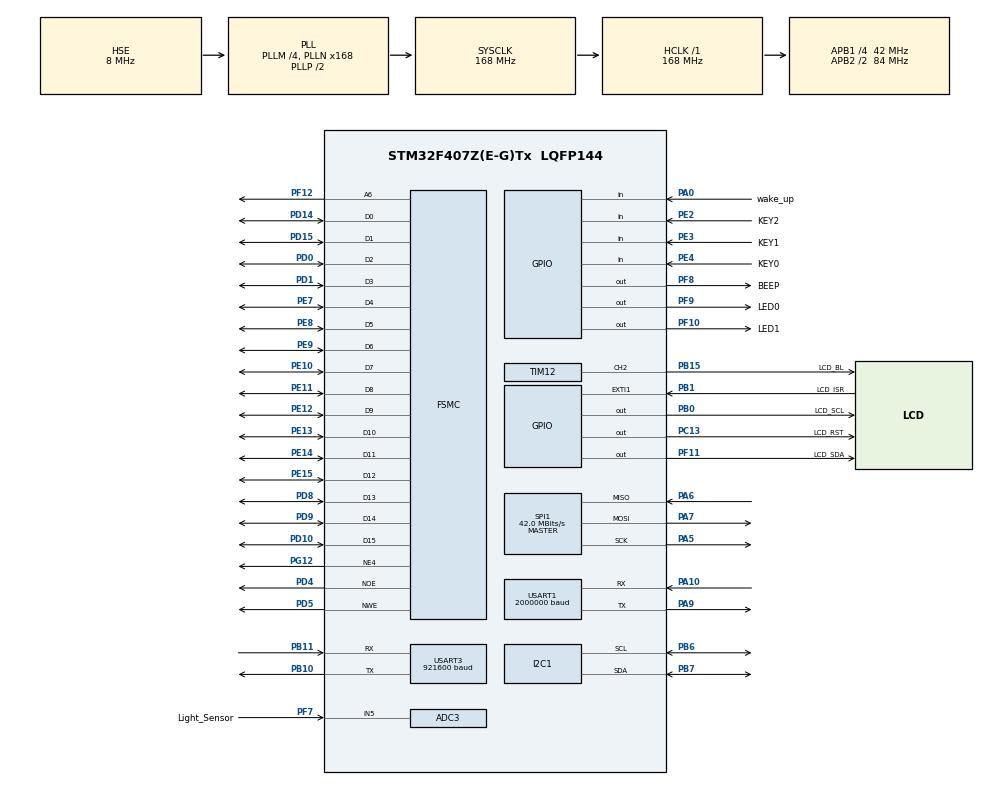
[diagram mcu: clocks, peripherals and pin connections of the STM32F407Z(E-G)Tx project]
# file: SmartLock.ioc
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ADC3.Channel-0\#ChannelRegularConversion=ADC_CHANNEL_5
ADC3.ClockPrescaler=ADC_CLOCK_SYNC_PCLK_DIV4
ADC3.ContinuousConvMode=ENABLE
ADC3.DMAContinuousRequests=DISABLE
ADC3.DiscontinuousConvMode=DISABLE
ADC3.NbrOfConversion=1
ADC3.NbrOfConversionFlag=1
ADC3.Rank-0\#ChannelRegularConversion=1
ADC3.SamplingTime-0\#ChannelRegularConversion=ADC_SAMPLETIME_56CYCLES
ADC3.ScanConvMode=DISABLE
Dma.I2C1_RX.4.Direction=DMA_PERIPH_TO_MEMORY
Dma.I2C1_RX.4.FIFOMode=DMA_FIFOMODE_DISABLE
Dma.I2C1_RX.4.Instance=DMA1_Stream0
Dma.I2C1_RX.4.MemDataAlignment=DMA_MDATAALIGN_BYTE
Dma.I2C1_RX.4.MemInc=DMA_MINC_ENABLE
Dma.I2C1_RX.4.Mode=DMA_NORMAL
Dma.I2C1_RX.4.PeriphDataAlignment=DMA_PDATAALIGN_BYTE
Dma.I2C1_RX.4.PeriphInc=DMA_PINC_DISABLE
Dma.I2C1_RX.4.Priority=DMA_PRIORITY_LOW
Dma.I2C1_TX.5.Direction=DMA_MEMORY_TO_PERIPH
Dma.I2C1_TX.5.FIFOMode=DMA_FIFOMODE_DISABLE
Dma.I2C1_TX.5.Instance=DMA1_Stream6
Dma.I2C1_TX.5.MemDataAlignment=DMA_MDATAALIGN_BYTE
Dma.I2C1_TX.5.MemInc=DMA_MINC_ENABLE
Dma.I2C1_TX.5.Mode=DMA_NORMAL
Dma.I2C1_TX.5.PeriphDataAlignment=DMA_PDATAALIGN_BYTE
Dma.I2C1_TX.5.PeriphInc=DMA_PINC_DISABLE
Dma.I2C1_TX.5.Priority=DMA_PRIORITY_LOW
Dma.Request0=USART1_RX
Dma.Request1=USART1_TX
Dma.Request2=USART3_RX
Dma.Request3=USART3_TX
Dma.Request4=I2C1_RX
Dma.Request5=I2C1_TX
Dma.Request6=SPI1_RX
Dma.Request7=SPI1_TX
Dma.SPI1_RX.6.Direction=DMA_PERIPH_TO_MEMORY
Dma.SPI1_RX.6.FIFOMode=DMA_FIFOMODE_DISABLE
Dma.SPI1_RX.6.Instance=DMA2_Stream0
Dma.SPI1_RX.6.MemDataAlignment=DMA_MDATAALIGN_HALFWORD
Dma.SPI1_RX.6.MemInc=DMA_MINC_ENABLE
Dma.SPI1_RX.6.Mode=DMA_NORMAL
Dma.SPI1_RX.6.PeriphDataAlignment=DMA_PDATAALIGN_HALFWORD
Dma.SPI1_RX.6.PeriphInc=DMA_PINC_DISABLE
Dma.SPI1_RX.6.Priority=DMA_PRIORITY_LOW
Dma.SPI1_TX.7.Direction=DMA_MEMORY_TO_PERIPH
Dma.SPI1_TX.7.FIFOMode=DMA_FIFOMODE_DISABLE
Dma.SPI1_TX.7.Instance=DMA2_Stream3
Dma.SPI1_TX.7.MemDataAlignment=DMA_MDATAALIGN_HALFWORD
Dma.SPI1_TX.7.MemInc=DMA_MINC_ENABLE
Dma.SPI1_TX.7.Mode=DMA_NORMAL
Dma.SPI1_TX.7.PeriphDataAlignment=DMA_PDATAALIGN_HALFWORD
Dma.SPI1_TX.7.PeriphInc=DMA_PINC_DISABLE
Dma.SPI1_TX.7.Priority=DMA_PRIORITY_LOW
Dma.USART1_RX.0.Direction=DMA_PERIPH_TO_MEMORY
Dma.USART1_RX.0.FIFOMode=DMA_FIFOMODE_DISABLE
Dma.USART1_RX.0.Instance=DMA2_Stream2
Dma.USART1_RX.0.MemDataAlignment=DMA_MDATAALIGN_BYTE
Dma.USART1_RX.0.MemInc=DMA_MINC_ENABLE
Dma.USART1_RX.0.Mode=DMA_CIRCULAR
Dma.USART1_RX.0.PeriphDataAlignment=DMA_PDATAALIGN_BYTE
Dma.USART1_RX.0.PeriphInc=DMA_PINC_DISABLE
Dma.USART1_RX.0.Priority=DMA_PRIORITY_LOW
Dma.USART1_TX.1.Direction=DMA_MEMORY_TO_PERIPH
Dma.USART1_TX.1.FIFOMode=DMA_FIFOMODE_DISABLE
Dma.USART1_TX.1.Instance=DMA2_Stream7
Dma.USART1_TX.1.MemDataAlignment=DMA_MDATAALIGN_BYTE
Dma.USART1_TX.1.MemInc=DMA_MINC_ENABLE
Dma.USART1_TX.1.Mode=DMA_NORMAL
Dma.USART1_TX.1.PeriphDataAlignment=DMA_PDATAALIGN_BYTE
Dma.USART1_TX.1.PeriphInc=DMA_PINC_DISABLE
Dma.USART1_TX.1.Priority=DMA_PRIORITY_LOW
Dma.USART3_RX.2.Direction=DMA_PERIPH_TO_MEMORY
Dma.USART3_RX.2.FIFOMode=DMA_FIFOMODE_DISABLE
Dma.USART3_RX.2.Instance=DMA1_Stream1
Dma.USART3_RX.2.MemDataAlignment=DMA_MDATAALIGN_BYTE
Dma.USART3_RX.2.MemInc=DMA_MINC_ENABLE
Dma.USART3_RX.2.Mode=DMA_CIRCULAR
Dma.USART3_RX.2.PeriphDataAlignment=DMA_PDATAALIGN_BYTE
Dma.USART3_RX.2.PeriphInc=DMA_PINC_DISABLE
Dma.USART3_RX.2.Priority=DMA_PRIORITY_LOW
Dma.USART3_TX.3.Direction=DMA_MEMORY_TO_PERIPH
Dma.USART3_TX.3.FIFOMode=DMA_FIFOMODE_DISABLE
Dma.USART3_TX.3.Instance=DMA1_Stream3
Dma.USART3_TX.3.MemDataAlignment=DMA_MDATAALIGN_BYTE
Dma.USART3_TX.3.MemInc=DMA_MINC_ENABLE
Dma.USART3_TX.3.Mode=DMA_NORMAL
Dma.USART3_TX.3.PeriphDataAlignment=DMA_PDATAALIGN_BYTE
Dma.USART3_TX.3.PeriphInc=DMA_PINC_DISABLE
Dma.USART3_TX.3.Priority=DMA_PRIORITY_LOW
FREERTOS.INCLUDE_pcTaskGetTaskName=1
FREERTOS.INCLUDE_uxTaskGetStackHighWaterMark2=1
FREERTOS.INCLUDE_xTaskGetHandle=1
FREERTOS.Tasks01=KeyScanTask,24,300,StartDefaultTask,Default,NULL,Dynamic,NULL,NULL;uartTask,8,256,StartTask02,Default,NULL,Dynamic,NULL,NULL;lcdTask,8,1024,StartTask_LCD,Default,NULL,Dynamic,NULL,NULL
FREERTOS.configCHECK_FOR_STACK_OVERFLOW=2
FREERTOS.configENABLE_FPU=1
FREERTOS.configGENERATE_RUN_TIME_STATS=1
FREERTOS.configRECORD_STACK_HIGH_ADDRESS=1
FREERTOS.configTOTAL_HEAP_SIZE=18432
FREERTOS.configUSE_APPLICATION_TASK_TAG=1
FREERTOS.configUSE_IDLE_HOOK=1
FREERTOS.configUSE_MALLOC_FAILED_HOOK=1
FREERTOS.configUSE_TICK_HOOK=1
FSMC.BusTurnAroundDuration1=0
FSMC.DataSetupTime1=60
FSMC.ExtendedAddressSetupTime1=9
FSMC.ExtendedBusTurnAroundDuration1=0
FSMC.ExtendedDataSetupTime1=9
FSMC.ExtendedMode1=FSMC_EXTENDED_MODE_ENABLE
I2C1.I2C_Mode=I2C_Fast
Mcu.Family=STM32F4
Mcu.Name=STM32F407Z(E-G)Tx
Mcu.Package=LQFP144
NVIC.ADC_IRQn=true\:5\:0\:false\:false\:true\:true\:true\:true\:true
NVIC.DMA1_Stream0_IRQn=true\:5\:0\:false\:false\:true\:true\:false\:true\:true
NVIC.DMA1_Stream1_IRQn=true\:5\:0\:false\:false\:true\:true\:false\:true\:true
NVIC.DMA1_Stream3_IRQn=true\:5\:0\:false\:false\:true\:true\:false\:true\:true
NVIC.DMA1_Stream6_IRQn=true\:5\:0\:false\:false\:true\:true\:false\:true\:true
NVIC.DMA2_Stream0_IRQn=true\:5\:0\:false\:false\:true\:true\:false\:true\:true
NVIC.DMA2_Stream2_IRQn=true\:5\:0\:false\:false\:true\:true\:false\:true\:true
NVIC.DMA2_Stream3_IRQn=true\:5\:0\:false\:false\:true\:true\:false\:true\:true
NVIC.DMA2_Stream7_IRQn=true\:5\:0\:false\:false\:true\:true\:false\:true\:true
NVIC.I2C1_ER_IRQn=true\:5\:0\:false\:false\:true\:true\:true\:true\:true
NVIC.I2C1_EV_IRQn=true\:5\:0\:false\:false\:true\:true\:true\:true\:true
NVIC.PriorityGroup=NVIC_PRIORITYGROUP_4
NVIC.SPI1_IRQn=true\:5\:0\:false\:false\:true\:true\:true\:true\:true
NVIC.TIM6_DAC_IRQn=true\:15\:0\:false\:false\:true\:false\:true\:true\:true
NVIC.TimeBase=TIM6_DAC_IRQn
NVIC.TimeBaseIP=TIM6
NVIC.USART1_IRQn=true\:5\:0\:false\:false\:true\:true\:true\:true\:true
NVIC.USART3_IRQn=true\:5\:0\:false\:false\:true\:true\:true\:true\:true
PA0-WKUP.GPIO_Label=wake_up
PA0-WKUP.GPIO_PuPd=GPIO_PULLDOWN
PA0-WKUP.Signal=GPIO_Input
PA10.Mode=Asynchronous
PA10.Signal=USART1_RX
PA13.Mode=Serial_Wire
PA13.Signal=SYS_JTMS-SWDIO
PA14.Mode=Serial_Wire
PA14.Signal=SYS_JTCK-SWCLK
PA5.Mode=Full_Duplex_Master
PA5.Signal=SPI1_SCK
PA6.Mode=Full_Duplex_Master
PA6.Signal=SPI1_MISO
PA7.Mode=Full_Duplex_Master
PA7.Signal=SPI1_MOSI
PA9.Mode=Asynchronous
PA9.Signal=USART1_TX
PB0.GPIO_Label=LCD_SCL
PB0.GPIO_ModeDefaultOutputPP=GPIO_MODE_OUTPUT_OD
PB0.GPIO_PuPd=GPIO_NOPULL
PB0.GPIO_Speed=GPIO_SPEED_FREQ_VERY_HIGH
PB0.PinState=GPIO_PIN_SET
PB0.Signal=GPIO_Output
PB1.GPIO_Label=LCD_ISR
PB1.GPIO_ModeDefaultEXTI=GPIO_MODE_IT_FALLING
PB1.Signal=GPXTI1
PB10.Mode=Asynchronous
PB10.Signal=USART3_TX
PB11.Mode=Asynchronous
PB11.Signal=USART3_RX
PB15.GPIO_Label=LCD_BL
PB15.GPIO_ModeDefaultPP=GPIO_MODE_AF_PP
PB15.GPIO_PuPd=GPIO_NOPULL
PB15.GPIO_Speed=GPIO_SPEED_FREQ_LOW
PB15.Signal=S_TIM12_CH2
PB6.Mode=I2C
PB6.Signal=I2C1_SCL
PB7.Mode=I2C
PB7.Signal=I2C1_SDA
PC13-ANTI_TAMP.GPIO_Label=LCD_RST
PC13-ANTI_TAMP.Signal=GPIO_Output
PC14-OSC32_IN.Mode=LSE-External-Oscillator
PC14-OSC32_IN.Signal=RCC_OSC32_IN
PC15-OSC32_OUT.Mode=LSE-External-Oscillator
PC15-OSC32_OUT.Signal=RCC_OSC32_OUT
PD0.Signal=FSMC_D2_DA2
PD1.Signal=FSMC_D3_DA3
PD10.Signal=FSMC_D15_DA15
PD14.Signal=FSMC_D0_DA0
PD15.Signal=FSMC_D1_DA1
PD4.Signal=FSMC_NOE
PD5.Signal=FSMC_NWE
PD8.Signal=FSMC_D13_DA13
PD9.Signal=FSMC_D14_DA14
PE10.Signal=FSMC_D7_DA7
PE11.Signal=FSMC_D8_DA8
PE12.Signal=FSMC_D9_DA9
PE13.Signal=FSMC_D10_DA10
PE14.Signal=FSMC_D11_DA11
PE15.Signal=FSMC_D12_DA12
PE2.GPIO_Label=KEY2
PE2.GPIO_PuPd=GPIO_PULLUP
PE2.Signal=GPIO_Input
PE3.GPIO_Label=KEY1
PE3.GPIO_PuPd=GPIO_PULLUP
PE3.Signal=GPIO_Input
PE4.GPIO_Label=KEY0
PE4.GPIO_PuPd=GPIO_PULLUP
PE4.Signal=GPIO_Input
PE7.Signal=FSMC_D4_DA4
PE8.Signal=FSMC_D5_DA5
PE9.Signal=FSMC_D6_DA6
PF10.GPIO_Label=LED1
PF10.PinState=GPIO_PIN_SET
PF10.Signal=GPIO_Output
PF11.GPIO_Label=LCD_SDA
PF11.GPIO_ModeDefaultOutputPP=GPIO_MODE_OUTPUT_OD
PF11.GPIO_PuPd=GPIO_NOPULL
PF11.GPIO_Speed=GPIO_SPEED_FREQ_VERY_HIGH
PF11.PinState=GPIO_PIN_SET
PF11.Signal=GPIO_Output
PF12.Signal=FSMC_A6
PF7.GPIO_Label=Light_Sensor
PF7.Mode=IN5
PF7.Signal=ADC3_IN5
PF8.GPIO_Label=BEEP
PF8.Signal=GPIO_Output
PF9.GPIO_Label=LED0
PF9.PinState=GPIO_PIN_SET
PF9.Signal=GPIO_Output
PG12.Mode=NorPsramChipSelect4_1
PG12.Signal=FSMC_NE4
PH0-OSC_IN.Mode=HSE-External-Oscillator
PH0-OSC_IN.Signal=RCC_OSC_IN
PH1-OSC_OUT.Mode=HSE-External-Oscillator
PH1-OSC_OUT.Signal=RCC_OSC_OUT
ProjectManager.HeapSize=0x200
ProjectManager.StackSize=0x400
ProjectManager.TargetToolchain=CMake
RCC.48MHZClocksFreq_Value=84000000
RCC.AHBFreq_Value=168000000
RCC.APB1CLKDivider=RCC_HCLK_DIV4
RCC.APB1Freq_Value=42000000
RCC.APB1TimFreq_Value=84000000
RCC.APB2CLKDivider=RCC_HCLK_DIV2
RCC.APB2Freq_Value=84000000
RCC.APB2TimFreq_Value=168000000
RCC.CortexFreq_Value=168000000
RCC.HCLKFreq_Value=168000000
RCC.HSE_VALUE=8000000
RCC.HSI_VALUE=16000000
RCC.PLLM=4
RCC.PLLN=168
RCC.PLLSourceVirtual=RCC_PLLSOURCE_HSE
RCC.SYSCLKFreq_VALUE=168000000
RCC.SYSCLKSource=RCC_SYSCLKSOURCE_PLLCLK
RCC.VCOOutputFreq_Value=336000000
SH.FSMC_A6.0=FSMC_A6,A6_1
SH.FSMC_D0_DA0.0=FSMC_D0,16b-d1
SH.FSMC_D10_DA10.0=FSMC_D10,16b-d1
SH.FSMC_D11_DA11.0=FSMC_D11,16b-d1
SH.FSMC_D12_DA12.0=FSMC_D12,16b-d1
SH.FSMC_D13_DA13.0=FSMC_D13,16b-d1
SH.FSMC_D14_DA14.0=FSMC_D14,16b-d1
SH.FSMC_D15_DA15.0=FSMC_D15,16b-d1
SH.FSMC_D1_DA1.0=FSMC_D1,16b-d1
SH.FSMC_D2_DA2.0=FSMC_D2,16b-d1
SH.FSMC_D3_DA3.0=FSMC_D3,16b-d1
SH.FSMC_D4_DA4.0=FSMC_D4,16b-d1
SH.FSMC_D5_DA5.0=FSMC_D5,16b-d1
SH.FSMC_D6_DA6.0=FSMC_D6,16b-d1
SH.FSMC_D7_DA7.0=FSMC_D7,16b-d1
SH.FSMC_D8_DA8.0=FSMC_D8,16b-d1
SH.FSMC_D9_DA9.0=FSMC_D9,16b-d1
SH.FSMC_NOE.0=FSMC_NOE,Lcd1
SH.FSMC_NWE.0=FSMC_NWE,Lcd1
SH.S_TIM12_CH2.0=TIM12_CH2,PWM Generation2 CH2
SPI1.BaudRatePrescaler=SPI_BAUDRATEPRESCALER_2
SPI1.CalculateBaudRate=42.0 MBits/s
SPI1.Direction=SPI_DIRECTION_2LINES
SPI1.Mode=SPI_MODE_MASTER
SPI1.VirtualType=VM_MASTER
TIM12.AutoReloadPreload=TIM_AUTORELOAD_PRELOAD_ENABLE
TIM12.Channel-PWM\ Generation2\ CH2=TIM_CHANNEL_2
TIM12.Period=100-1
TIM12.Prescaler=84-1
TIM12.Pulse-PWM\ Generation2\ CH2=100
USART1.BaudRate=2000000
USART1.VirtualMode=VM_ASYNC
USART3.BaudRate=921600
USART3.VirtualMode=VM_ASYNC
VP_FREERTOS_VS_CMSIS_V2.Mode=CMSIS_V2
VP_IWDG_VS_IWDG.Mode=IWDG_Activate
VP_RTC_VS_RTC_Activate.Mode=RTC_Enabled
VP_SYS_VS_tim6.Mode=TIM6
VP_TIM12_VS_ClockSourceINT.Mode=Internal
board=custom

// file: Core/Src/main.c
/* USER CODE BEGIN Header */
/**
 ******************************************************************************
 * @file           : main.c
 * @brief          : Main program body
 ******************************************************************************
 * @attention
 *
 * Copyright (c) 2025 STMicroelectronics.
 * All rights reserved.
 *
 * This software is licensed under terms that can be found in the LICENSE file
 * in the root directory of this software component.
 * If no LICENSE file comes with this software, it is provided AS-IS.
 *
 ******************************************************************************
 */
/* USER CODE END Header */
#include "main.h"
#include "cmsis_os.h"
#include "adc.h"
#include "dma.h"
#include "i2c.h"
#include "iwdg.h"
#include "rtc.h"
#include "spi.h"
#include "tim.h"
#include "usart.h"
#include "gpio.h"
#include "fsmc.h"

/* USER CODE BEGIN Includes */
#include <stdio.h>

#include "ESP01S.h"
#include "KEY.h"
#include "SEGGER_RTT.h"
#include "SEGGER_SYSVIEW.h"
#include "Usart1_manage.h"
#include "auto_init.h"
#include "bh1750.h"
#include "blackbox_record.h"
#include "hal_time.h"
#include "lcd.h"
#include "log.h"
#include "lv_port_disp.h"
#include "lv_port_indev.h"
#include "lvgl.h"
#include "vectortable_to_ram.h"
/* USER CODE END Includes */

/* USER CODE BEGIN PV */
void keyCallback(KEY_TypedefHandle* key, KEY_ActionType action) {
    switch (action) {
        case KEY_ACTION_SINGLE_CLICK:
            LOG_I("key1", "单击回调函数触发");
            break;
        case KEY_ACTION_DOUBLE_CLICK:
            LOG_I("key1", "双击回调函数触发");
            __asm volatile("udf #0");  // 触发 HardFault
            break;
        case KEY_ACTION_TRIPLE_CLICK:
            LOG_I("key1", "三击回调函数触发");
            BB_ClearCrashInfo();
            BB_ClearWdgInfo();
            break;
        case KEY_ACTION_LONG_PRESS:
            LOG_I("key1", "长按回调函数触发");
            break;
        case KEY_ACTION_LONG_PRESS_REPEAT:
            LOG_I("key1", "长按1回调函数触发");
            break;
    }
}

static KeyInfo key0_info              = {KEY0_GPIO_Port, KEY0_Pin};
static KeyInfo key1_info              = {KEY1_GPIO_Port, KEY1_Pin};
static KeyInfo key2_info              = {KEY2_GPIO_Port, KEY2_Pin};
static const KEY_Config_t key0_config = {
    .name           = "KEY0",
    .active_level   = 0,
    .callback       = keyCallback,
    .keyinfo        = &key0_info,
    .debounce_ms    = 20,
    .long_press_ms  = 800,
    .multi_click_ms = 300,
    .user_data      = NULL,
};
static const KEY_Config_t key1_config = {
    .name           = "KEY1",
    .active_level   = 0,
    .callback       = NULL,
    .keyinfo        = &key1_info,
    .debounce_ms    = 20,
    .long_press_ms  = 800,
    .multi_click_ms = 300,
    .user_data      = NULL,
};
static const KEY_Config_t key2_config = {
    .name           = "KEY2",
    .active_level   = 0,
    .callback       = NULL,
    .keyinfo        = &key2_info,
    .debounce_ms    = 20,
    .long_press_ms  = 800,
    .multi_click_ms = 300,
    .user_data      = NULL,
};

static KEY_TypedefHandle key0;
static KEY_TypedefHandle key1;
static KEY_TypedefHandle key2;

/* USER CODE END PV */

void SystemClock_Config(void);
void MX_FREERTOS_Init(void);

/* USER CODE BEGIN 0 */
#ifdef __GNUC__
#define PUTCHAR_PROTOTYPE int __io_putchar(int ch)
#else
#define PUTCHAR_PROTOTYPE int fputc(int ch, FILE* f)
#endif
PUTCHAR_PROTOTYPE {
    HAL_UART_Transmit(&huart1, (uint8_t*)&ch, 1,
                      HAL_MAX_DELAY);
    return ch;
}
int _write(int file, char *ptr, int len)
{
    /* file 参数通常用于区分 stdout(1) 和 stderr(2)，在这里可以直接忽略 */
    (void)file;
    SEGGER_RTT_Write(0, ptr, len);
    HAL_UART_Transmit(&huart1, (uint8_t*)&ptr, len,
                       HAL_MAX_DELAY);
    return len; /* 必须返回实际发送的字节数 */
}
/* USER CODE END 0 */

int main(void)
{

  /* USER CODE BEGIN 1 */
    Move_Vector_Table_To_RAM();
    __enable_irq();

    /* 清理标志位 记录复位原因 */
    // BB_OnBootUpdateResetReason(); /* 如果使用BootLoader 注释这句将复位原因交由 Bootloader完成 */
  /* USER CODE END 1 */

  /* MCU Configuration--------------------------------------------------------*/

  /* Reset of all peripherals, Initializes the Flash interface and the Systick. */
  HAL_Init();

  /* Configure the system clock */
  SystemClock_Config();

  /* USER CODE BEGIN SysInit */
    hal_time_init();
    /* 初始化 SystemView */
    SEGGER_SYSVIEW_Conf();
  /* USER CODE END SysInit */

  /* Initialize all configured peripherals */
  MX_GPIO_Init();
  MX_DMA_Init();
  MX_USART1_UART_Init();
  MX_FSMC_Init();
  MX_TIM12_Init();
  MX_USART3_UART_Init();
  MX_ADC3_Init();
  MX_I2C1_Init();
  MX_IWDG_Init();
  MX_SPI1_Init();
  MX_RTC_Init();
  /* USER CODE BEGIN 2 */
    /* 直接寄存器发送测试（不依赖HAL超时） */
    // BB_Info_Printf(); /* 打印复位/崩溃信息 */
    AUTO_INIT_REG(AUTO_INIT_EARLY, AUTO_BUCKET_0, 0, BB_Info_Printf);
    auto_init_run_all();
    // lcd_init();
    BH1750_Init();
    BH1750_PowerOn();
    BH1750_Set_CONT_HIRES_MODE();
    LOG_E("cu", "ssss");
    // bsp_esp8266_Init();
    // lcd_show_string(10, 40, 240, 32, 32, "STM32", RED);
    //
    // lcd_show_string(10, 80, 240, 24, 24, "TFTLCD TEST", MAGENTA);
    //
    // lcd_show_string(10, 110, 240, 16, 16, "ATOM@ALIENTEK", CYAN);
    MyUart_Init();
    KEY_Init(&key0, &key0_config);
    KEY_Init(&key1, &key1_config);
    KEY_Init(&key2, &key2_config);
  /* USER CODE END 2 */

  /* Init scheduler */
  osKernelInitialize();  /* Call init function for freertos objects (in cmsis_os2.c) */
  MX_FREERTOS_Init();

  /* Start scheduler */
  osKernelStart();

  /* We should never get here as control is now taken by the scheduler */

  /* Infinite loop */
    while (1) {

    }
}

void SystemClock_Config(void)
{
  RCC_OscInitTypeDef RCC_OscInitStruct = {0};
  RCC_ClkInitTypeDef RCC_ClkInitStruct = {0};

  /** Configure the main internal regulator output voltage
  */
  __HAL_RCC_PWR_CLK_ENABLE();
  __HAL_PWR_VOLTAGESCALING_CONFIG(PWR_REGULATOR_VOLTAGE_SCALE1);

  /** Initializes the RCC Oscillators according to the specified parameters
  * in the RCC_OscInitTypeDef structure.
  */
  RCC_OscInitStruct.OscillatorType = RCC_OSCILLATORTYPE_LSI|RCC_OSCILLATORTYPE_HSE;
  RCC_OscInitStruct.HSEState = RCC_HSE_ON;
  RCC_OscInitStruct.LSIState = RCC_LSI_ON;
  RCC_OscInitStruct.PLL.PLLState = RCC_PLL_ON;
  RCC_OscInitStruct.PLL.PLLSource = RCC_PLLSOURCE_HSE;
  RCC_OscInitStruct.PLL.PLLM = 4;
  RCC_OscInitStruct.PLL.PLLN = 168;
  RCC_OscInitStruct.PLL.PLLP = RCC_PLLP_DIV2;
  RCC_OscInitStruct.PLL.PLLQ = 4;
  if (HAL_RCC_OscConfig(&RCC_OscInitStruct) != HAL_OK)
  {
    Error_Handler();
  }

  /** Initializes the CPU, AHB and APB buses clocks
  */
  RCC_ClkInitStruct.ClockType = RCC_CLOCKTYPE_HCLK|RCC_CLOCKTYPE_SYSCLK
                              |RCC_CLOCKTYPE_PCLK1|RCC_CLOCKTYPE_PCLK2;
  RCC_ClkInitStruct.SYSCLKSource = RCC_SYSCLKSOURCE_PLLCLK;
  RCC_ClkInitStruct.AHBCLKDivider = RCC_SYSCLK_DIV1;
  RCC_ClkInitStruct.APB1CLKDivider = RCC_HCLK_DIV4;
  RCC_ClkInitStruct.APB2CLKDivider = RCC_HCLK_DIV2;

  if (HAL_RCC_ClockConfig(&RCC_ClkInitStruct, FLASH_LATENCY_5) != HAL_OK)
  {
    Error_Handler();
  }
}

void HAL_TIM_PeriodElapsedCallback(TIM_HandleTypeDef *htim)
{
  if (htim->Instance == TIM6)
  {
    HAL_IncTick();
  }
}

void Error_Handler(void)
{
    __disable_irq();
    while (1) {
    }
}
#ifdef USE_FULL_ASSERT
/**
  * @brief  Reports the name of the source file and the source line number
  *         where the assert_param error has occurred.
  * @param  file: pointer to the source file name
  * @param  line: assert_param error line source number
  * @retval None
  */
void assert_failed(uint8_t *file, uint32_t line)
{
  /* USER CODE BEGIN 6 */
    /* User can add his own implementation to report the file name and line
       number, ex: printf("Wrong parameters value: file %s on line %d\r\n", file,
       line) */
  /* USER CODE END 6 */
}
#endif /* USE_FULL_ASSERT */

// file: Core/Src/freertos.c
/* USER CODE BEGIN Header */
/**
 ******************************************************************************
 * File Name          : freertos.c
 * Description        : Code for freertos applications
 ******************************************************************************
 * @attention
 *
 * Copyright (c) 2025 STMicroelectronics.
 * All rights reserved.
 *
 * This software is licensed under terms that can be found in the LICENSE file
 * in the root directory of this software component.
 * If no LICENSE file comes with this software, it is provided AS-IS.
 *
 ******************************************************************************
 */
/* USER CODE END Header */

#include "FreeRTOS.h"
#include "task.h"
#include "main.h"
#include "cmsis_os.h"

/* USER CODE BEGIN Includes */
#include <stdio.h>
#include <string.h>

#include "AT_Core_Task.h"
#include "ESP01S.h"
#include "KEY.h"
#include "LCD_task.h"
#include "Light_Sensor_task.h"
#include "bh1750.h"
#include "crc16.h"
#include "eb_api.h"
#include "hal_time.h"
#include "hal_uart_port_hooks.h"
#include "heap_check.h"
#include "log.h"
#include "log_port.h"
#include "lv_port_disp.h"
#include "lv_port_indev.h"
#include "lvgl.h"
#include "watchdog_app.h"
#include "wdg_supervisor.h"
/* USER CODE END Includes */

/* Definitions for KeyScanTask */
osThreadId_t KeyScanTaskHandle;
const osThreadAttr_t KeyScanTask_attributes = {
  .name = "KeyScanTask",
  .stack_size = 300 * 4,
  .priority = (osPriority_t) osPriorityNormal,
};
/* Definitions for uartTask */
osThreadId_t uartTaskHandle;
const osThreadAttr_t uartTask_attributes = {
  .name = "uartTask",
  .stack_size = 256 * 4,
  .priority = (osPriority_t) osPriorityLow,
};
/* Definitions for lcdTask */
osThreadId_t lcdTaskHandle;
const osThreadAttr_t lcdTask_attributes = {
  .name = "lcdTask",
  .stack_size = 1024 * 4,
  .priority = (osPriority_t) osPriorityLow,
};

/* USER CODE BEGIN FunctionPrototypes */
/* 事件总线任务 */
osThreadId_t eventBusTaskHandle;
const osThreadAttr_t eventBusTask_attributes = {
    .name       = "eventBusTask",
    .stack_size = 256 * 2,
    .priority   = (osPriority_t)osPriorityAboveNormal,
};
osThreadId_t LightSensor_TaskHandle;
/* 光敏传感器任务 */
const osThreadAttr_t LightSensor_Task_attributes = {
    .name       = "LightSensor_Task",
    .stack_size = 128 * 4,
    .priority   = (osPriority_t)osPriorityNormal,
};

/* GT911 触摸测试任务 */
// osThreadId_t TouchTest_TaskHandle;
// const osThreadAttr_t TouchTest_Task_attributes = {
//     .name       = "TouchTestTask",
//     .stack_size = 512 * 3,
//     .priority   = (osPriority_t)osPriorityNormal,
// };

osThreadId_t heap_check_task_handle;
const osThreadAttr_t heap_check_task_attributes = {
    .name       = "heap_check_task",
    .stack_size = 256 * 6,
    .priority   = (osPriority_t)osPriorityLow,
};
/* USER CODE END FunctionPrototypes */

void StartDefaultTask(void *argument);
void StartTask02(void *argument);
void StartTask_LCD(void *argument);

void MX_FREERTOS_Init(void); /* (MISRA C 2004 rule 8.1) */

/* Hook prototypes */
void configureTimerForRunTimeStats(void);
unsigned long getRunTimeCounterValue(void);
void vApplicationIdleHook(void);
void vApplicationTickHook(void);
void vApplicationStackOverflowHook(xTaskHandle xTask, signed char *pcTaskName);
void vApplicationMallocFailedHook(void);

/* USER CODE BEGIN 1 */
/* Functions needed when configGENERATE_RUN_TIME_STATS is on */
__weak void configureTimerForRunTimeStats(void) {
    hal_time_init();
}

__weak unsigned long getRunTimeCounterValue(void) {
    return hal_get_cycle32();
}

/* USER CODE END 1 */

/* USER CODE BEGIN 2 */
void vApplicationIdleHook(void) {
    /* vApplicationIdleHook() will only be called if configUSE_IDLE_HOOK is set
    to 1 in FreeRTOSConfig.h. It will be called on each iteration of the idle
    task. It is essential that code added to this hook function never attempts
    to block in any way (for example, call xQueueReceive() with a block time
    specified, or call vTaskDelay()). If the application makes use of the
    vTaskDelete() API function (as this demo application does) then it is also
    important that vApplicationIdleHook() is permitted to return to its calling
    function, because it is the responsibility of the idle task to clean up
    memory allocated by the kernel to any task that has since been deleted. */
}

/* USER CODE END 2 */

/* USER CODE BEGIN 3 */
void vApplicationTickHook(void) {
    /* This function will be called by each tick interrupt if
    configUSE_TICK_HOOK is set to 1 in FreeRTOSConfig.h. User code can be
    added here, but the tick hook is called from an interrupt context, so
    code must not attempt to block, and only the interrupt safe FreeRTOS API
    functions can be used (those that end in FromISR()). */
}

/* USER CODE END 3 */

/* USER CODE BEGIN 4 */
void vApplicationStackOverflowHook(xTaskHandle xTask, signed char* pcTaskName) {
    printf("Stack overflow in task: %s\r\n", pcTaskName);
    taskDISABLE_INTERRUPTS();
    for (;;) {
    }
}

/* USER CODE END 4 */

/* USER CODE BEGIN 5 */
void vApplicationMallocFailedHook(void) {
    printf("FreeRTOS malloc failed! Free heap: %u\r\n", (unsigned)xPortGetFreeHeapSize());
    taskDISABLE_INTERRUPTS();
    for (;;) {
    }
}

/* USER CODE END 5 */

void MX_FREERTOS_Init(void) {
  /* USER CODE BEGIN Init */
    eb_init();

  /* USER CODE END Init */

  /* Create the thread(s) */
  /* creation of KeyScanTask */
  KeyScanTaskHandle = osThreadNew(StartDefaultTask, NULL, &KeyScanTask_attributes);

  /* creation of uartTask */
  uartTaskHandle = osThreadNew(StartTask02, NULL, &uartTask_attributes);

  /* creation of lcdTask */
  lcdTaskHandle = osThreadNew(StartTask_LCD, NULL, &lcdTask_attributes);

  /* USER CODE BEGIN RTOS_THREADS */
    /* add threads, ... */

    /* 光敏传感器 */
    LightSensor_TaskHandle = osThreadNew(StartLightSensorTask, NULL, &LightSensor_Task_attributes);

    /* GT911 触摸测试任务 */
    // TouchTest_TaskHandle    = osThreadNew(StartTouchTestTask, NULL, &TouchTest_Task_attributes);
    /* 栈 堆大小水位监测 */
    heap_check_task_handle = osThreadNew(vHEAP_check_task, NULL, &heap_check_task_attributes);
    /* 日志任务 创建信号量、创建任务 */
    Log_PortInit();
    Log_Init();
    /* 串口AT解析任务 创建信号量、创建任务*/
    at_core_task_init(&g_at_manager);
    /* 启用 IWDG 抽象 + Supervisor 线程 */
    if (ret_is_err(Watchdog_AppInit())) {
        Error_Handler();
    }

  /* USER CODE END RTOS_THREADS */

}

void StartDefaultTask(void *argument)
{
  /* USER CODE BEGIN StartDefaultTask */
    /* Infinite loop */
    /* 注册看门狗挑战任务：deadline = 2倍任务周期 + 监督周期抖动 + 计算时间 + 余量 */
    uint8_t id = 0;
    const uint32_t default_task_deadline =
        wdg_sup_deadline_budget_ms(2u * 30u, CFG_PARAM_WATCHDOG_APP_SUP_PERIOD_MS, 0u, 50u);
    wdg_sup_register(&id, "default task", WDG_WATCH_CHALLENGE, WDG_ALGO_MATH_MIX32, 1234, 5,
                     default_task_deadline);
    for (;;) {
        // LED 1翻转
        HAL_GPIO_TogglePin(LED1_GPIO_Port, LED1_Pin);
        KEY_Tasks();

        // const float lx       = BH1750_Get_LX();
        // const uint32_t prase = (uint32_t)(lx * 100);
        // LOG_D("光照度", "环境光lx：%ld.%02ld\r\n", prase / 100, prase % 100);
        // char buffer[64];
        // sprintf(buffer, "%ld", prase);
        // lcd_show_string(10, 400, 240, 32, 32, buffer, RED);
        /* 做题挑战 */
        wdg_sup_task_service(id);
        osDelay(30);
    }
  /* USER CODE END StartDefaultTask */
}

void StartTask02(void *argument)
{
  /* USER CODE BEGIN StartTask02 */
    /* Infinite loop */
    /* UART任务存在阻塞风险，deadline按2倍任务周期预留 */
    uint8_t id = 0;
    const uint32_t uart_task_deadline =
        wdg_sup_deadline_budget_ms(2u * 250u, CFG_PARAM_WATCHDOG_APP_SUP_PERIOD_MS, 0u, 50u);
    wdg_sup_register(&id, "start task02", WDG_WATCH_CHALLENGE, WDG_ALGO_MATH_MIX32, 2, 3,
                     uart_task_deadline);
    for (;;) {
        HAL_GPIO_TogglePin(LED0_GPIO_Port, LED0_Pin);
        wdg_sup_task_service(id);
        osDelay(250);
    }
  /* USER CODE END StartTask02 */
}

void StartTask_LCD(void *argument)
{
  /* USER CODE BEGIN StartTask_LCD */
    /* Infinite loop */
    lv_init();
    lv_tick_set_cb(hal_get_tick_ms);
    lv_port_disp_init();
    lv_port_indev_init();

    /* 获取当前的屏幕活动对象 */
    lv_obj_t* scr = lv_screen_active();
    /* 设备背景色 */
    lv_obj_set_style_bg_color(scr, lv_color_hex(0x10243A), 0);
    /* 设置完全不透明 */
    lv_obj_set_style_bg_opa(scr, LV_OPA_COVER, 0);

    /* 创建一个文本标签 */
    lv_obj_t* label = lv_label_create(scr);
    /* 显示文字 */
    lv_label_set_text(label, "LVGL OK");
    /* 设置颜色 */
    lv_obj_set_style_text_color(label, lv_color_white(), 0);
    /* 居中 */
    lv_obj_center(label);

    /* --- 触控追踪指示器 --- */
    /* 红色圆点: 跟随触摸位置 */
    /* 创建基础对象 */
    lv_obj_t* cursor = lv_obj_create(scr);
    /* 设置大小 */
    lv_obj_set_size(cursor, 20, 20);
    /* 设置圆角 */
    lv_obj_set_style_radius(cursor, LV_RADIUS_CIRCLE, 0);
    /* 设置背景色 */
    lv_obj_set_style_bg_color(cursor, lv_color_hex(0xFF0000), 0);
    /* 设置透明度 */
    lv_obj_set_style_bg_opa(cursor, LV_OPA_COVER, 0);
    /* 设置边框 无 */
    lv_obj_set_style_border_width(cursor, 0, 0);
    /* 设置初始隐藏 */
    lv_obj_add_flag(cursor, LV_OBJ_FLAG_HIDDEN); /* 初始隐藏 */

    /* 坐标文本: 左上角显示 */
    lv_obj_t* coord_label = lv_label_create(scr);
    lv_label_set_text(coord_label, "Touch: ---");
    lv_obj_set_style_text_color(coord_label, lv_color_hex(0x00FF00), 0);
    lv_obj_set_style_text_font(coord_label, &lv_font_montserrat_14, 0);
    /* 对齐到 左上 各10 像素 */
    lv_obj_align(coord_label, LV_ALIGN_TOP_LEFT, 10, 10);

    /* --- 系统资源占有率面板 --- */
    lv_obj_t* res_label = lv_label_create(scr);
    lv_obj_set_width(res_label, 220);
    lv_label_set_long_mode(res_label, LV_LABEL_LONG_WRAP);
    lv_obj_set_style_text_color(res_label, lv_color_hex(0xFFE08A), 0);
    lv_obj_set_style_text_font(res_label, &lv_font_montserrat_14, 0);
    lv_obj_align(res_label, LV_ALIGN_TOP_RIGHT, -10, 10);
    lv_label_set_text(res_label, "RES: init...");

    LOG_I("StartTask_LCD", "LVGL init done");
    configureTimerForRunTimeStats();
    /* 每秒 */
    uint32_t last_report_tick = hal_get_tick_ms();
    /* 每 500ms */
    uint32_t last_res_tick    = hal_get_tick_ms();
    /* esp 初始化标记 */
    uint8_t esp_init_done     = 0;

    for (;;) {
        lv_timer_handler();

        /* --- 触控追踪更新 --- */
        /* 获取触控屏设备 */
        const lv_indev_t* indev = lv_indev_get_next(NULL);
        if (indev) {
            lv_point_t p;
            /* 获取触控点 */
            lv_indev_get_point(indev, &p);
            /* 读取触控状态 */
            const lv_indev_state_t state = lv_indev_get_state(indev);
            /* 触摸状态 */
            if (state == LV_INDEV_STATE_PRESSED) {
                /* 设置对象的地址 */
                lv_obj_set_pos(cursor, p.x - 10, p.y - 10);
                /* 取消隐藏 */
                lv_obj_clear_flag(cursor, LV_OBJ_FLAG_HIDDEN);

                char buf[32];
                /* 更新 左上角的 label 文本 */
                lv_snprintf(buf, sizeof(buf), "Touch: %d, %d", p.x, p.y);
                lv_label_set_text(coord_label, buf);
            } else { /* 其它状态 隐藏 对象 */
                lv_obj_add_flag(cursor, LV_OBJ_FLAG_HIDDEN);
            }
        }
        /* 等待屏幕刷新超过 20次 初始化esp */
        if (!esp_init_done && lv_port_disp_get_flush_count() > 20) {
            //esp01s_Init();
            esp_init_done = 1;
            LOG_I("StartTask_LCD", "ESP init done");
        }
        /* 每秒更新打印当前任务的栈水位线 */
        if ((hal_get_tick_ms() - last_report_tick) >= 1000U) {
            const UBaseType_t watermark = uxTaskGetStackHighWaterMark(NULL);
            LOG_I("LVGL", "flush=%lu, stack_wm=%lu", (unsigned long)lv_port_disp_get_flush_count(),
                  (unsigned long)watermark);
            last_report_tick = hal_get_tick_ms();
        }
        /* 每 500ms 更新右上角的 label资源显示 */
        if ((hal_get_tick_ms() - last_res_tick) >= 1000U) {
            resource_mon_update_label(res_label);
            last_res_tick = hal_get_tick_ms();
        }
        osDelay(20);
    }
  /* USER CODE END StartTask_LCD */
}
